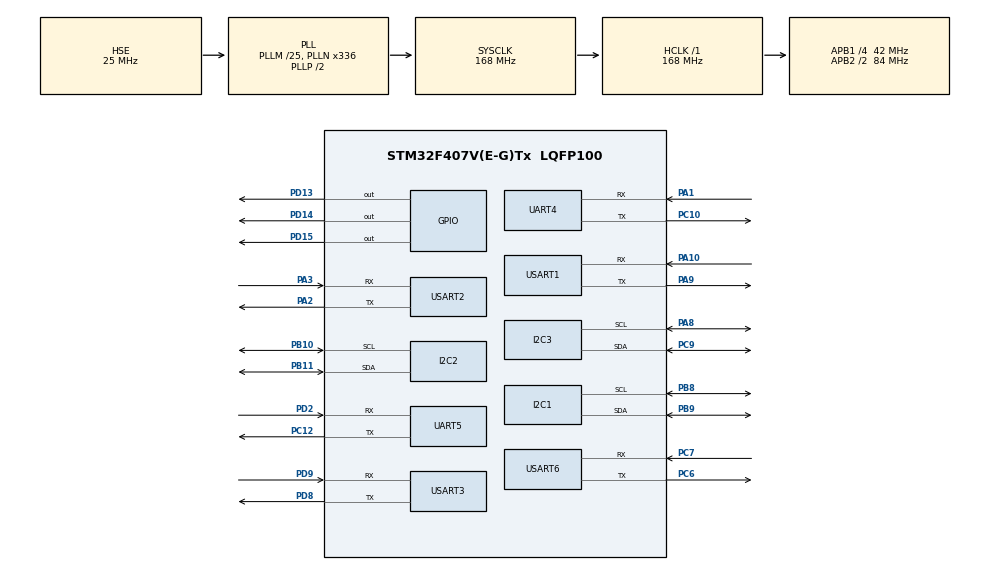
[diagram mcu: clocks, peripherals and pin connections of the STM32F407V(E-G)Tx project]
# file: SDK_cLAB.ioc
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I2C1.I2C_Mode=I2C_Standard
IWDG.Prescaler=IWDG_PRESCALER_64
Mcu.Family=STM32F4
Mcu.Name=STM32F407V(E-G)Tx
Mcu.Package=LQFP100
NVIC.PriorityGroup=NVIC_PRIORITYGROUP_4
NVIC.TIM1_BRK_TIM9_IRQn=true\:0\:0\:false\:false\:true\:true\:true
NVIC.TIM2_IRQn=true\:0\:0\:false\:false\:true\:true\:true
NVIC.TIM5_IRQn=true\:0\:0\:false\:false\:true\:true\:true
NVIC.UART4_IRQn=true\:0\:0\:false\:false\:true\:true\:true
NVIC.UART5_IRQn=true\:0\:0\:false\:false\:true\:true\:true
NVIC.USART1_IRQn=true\:0\:0\:false\:false\:true\:true\:true
NVIC.USART2_IRQn=true\:0\:0\:false\:false\:true\:true\:true
NVIC.USART3_IRQn=true\:0\:0\:false\:false\:true\:true\:true
NVIC.USART6_IRQn=true\:0\:0\:false\:false\:true\:true\:true
PA1.Mode=Asynchronous
PA1.Signal=UART4_RX
PA10.Mode=Asynchronous
PA10.Signal=USART1_RX
PA13.Mode=JTAG_5_pins
PA13.Signal=SYS_JTMS-SWDIO
PA14.Mode=JTAG_5_pins
PA14.Signal=SYS_JTCK-SWCLK
PA15.Mode=JTAG_5_pins
PA15.Signal=SYS_JTDI
PA2.Mode=Asynchronous
PA2.Signal=USART2_TX
PA3.Mode=Asynchronous
PA3.Signal=USART2_RX
PA8.Mode=I2C
PA8.Signal=I2C3_SCL
PA9.Mode=Asynchronous
PA9.Signal=USART1_TX
PB10.Mode=I2C
PB10.Signal=I2C2_SCL
PB11.Mode=I2C
PB11.Signal=I2C2_SDA
PB3.Mode=JTAG_5_pins
PB3.Signal=SYS_JTDO-SWO
PB4.Mode=JTAG_5_pins
PB4.Signal=SYS_JTRST
PB8.Mode=I2C
PB8.Signal=I2C1_SCL
PB9.Mode=I2C
PB9.Signal=I2C1_SDA
PC10.Mode=Asynchronous
PC10.Signal=UART4_TX
PC12.Mode=Asynchronous
PC12.Signal=UART5_TX
PC6.Mode=Asynchronous
PC6.Signal=USART6_TX
PC7.Mode=Asynchronous
PC7.Signal=USART6_RX
PC9.Mode=I2C
PC9.Signal=I2C3_SDA
PD13.Signal=GPIO_Output
PD14.GPIO_Speed=GPIO_SPEED_FREQ_HIGH
PD14.PinState=GPIO_PIN_RESET
PD14.Signal=GPIO_Output
PD15.GPIO_Speed=GPIO_SPEED_FREQ_HIGH
PD15.Signal=GPIO_Output
PD2.Mode=Asynchronous
PD2.Signal=UART5_RX
PD8.Mode=Asynchronous
PD8.Signal=USART3_TX
PD9.Mode=Asynchronous
PD9.Signal=USART3_RX
PH0-OSC_IN.Mode=HSE-External-Oscillator
PH0-OSC_IN.Signal=RCC_OSC_IN
PH1-OSC_OUT.Mode=HSE-External-Oscillator
PH1-OSC_OUT.Signal=RCC_OSC_OUT
ProjectManager.HeapSize=0x200
ProjectManager.StackSize=0x400
ProjectManager.TargetToolchain=STM32CubeIDE
RCC.48MHZClocksFreq_Value=84000000
RCC.AHBFreq_Value=168000000
RCC.APB1CLKDivider=RCC_HCLK_DIV4
RCC.APB1Freq_Value=42000000
RCC.APB1TimFreq_Value=84000000
RCC.APB2CLKDivider=RCC_HCLK_DIV2
RCC.APB2Freq_Value=84000000
RCC.APB2TimFreq_Value=168000000
RCC.CortexFreq_Value=168000000
RCC.HCLKFreq_Value=168000000
RCC.HSE_VALUE=25000000
RCC.HSI_VALUE=16000000
RCC.LSE_VALUE=32768
RCC.PLLM=25
RCC.PLLN=336
RCC.PLLSourceVirtual=RCC_PLLSOURCE_HSE
RCC.SYSCLKFreq_VALUE=168000000
RCC.SYSCLKSource=RCC_SYSCLKSOURCE_PLLCLK
RCC.VCOOutputFreq_Value=336000000
TIM2.Period=9999
TIM2.Prescaler=8399
TIM5.Channel-PWM\ Generation1\ No\ Output=TIM_CHANNEL_1
TIM5.Period=9999
TIM5.Prescaler=8399
TIM5.Pulse-PWM\ Generation1\ No\ Output=3000
TIM9.Period=9999
TIM9.Prescaler=33599
UART4.VirtualMode=Asynchronous
UART5.VirtualMode=Asynchronous
USART1.VirtualMode=VM_ASYNC
USART2.VirtualMode=VM_ASYNC
USART3.VirtualMode=VM_ASYNC
USART6.VirtualMode=VM_ASYNC
VP_IWDG_VS_IWDG.Mode=IWDG_Activate
VP_TIM2_VS_ClockSourceINT.Mode=Internal
VP_TIM5_VS_ClockSourceINT.Mode=Internal
VP_TIM5_VS_no_output1.Mode=PWM Generation1 No Output
VP_TIM9_VS_ClockSourceINT.Mode=Internal
board=custom

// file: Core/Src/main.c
/* USER CODE BEGIN Header */
/**
  ******************************************************************************
  * @file           : main.c
  * @brief          : Main program body
  ******************************************************************************
  * @attention
  *
  * <h2><center>&copy; Copyright (c) 2020 STMicroelectronics.
  * All rights reserved.</center></h2>
  *
  * This software component is licensed by ST under BSD 3-Clause license,
  * the "License"; You may not use this file except in compliance with the
  * License. You may obtain a copy of the License at:
  *                        opensource.org/licenses/BSD-3-Clause
  *
  ******************************************************************************
  */
/* USER CODE END Header */
#include "main.h"
#include "i2c.h"
#include "iwdg.h"
#include "tim.h"
#include "usart.h"
#include "gpio.h"

/* USER CODE BEGIN Includes */
#include "trace.h"
#include "string.h"
#include <stdio.h>
/* USER CODE END Includes */

void SystemClock_Config(void);

/* USER CODE BEGIN 0 */
/**
 * @brief   Scans trough the I2C for valid addresses, then prints the out with printf().
 * @param   void
 * @return  void
 */
void i2c_detect(void) {
	uint8_t devices = 0u;

	SDK_TRACE_Print("Searching for I2C devices on the bus from 0x03 to 0x80...\n");
	/* Values outside 0x03 and 0x77 are invalid. */
	for (uint8_t i = 0x03u; i < 0x77u; i++) {
		uint8_t address = i << 1u;
		/* In case there is a positive feedback, print it out. */
		if (HAL_OK == HAL_I2C_IsDeviceReady(&hi2c1, address, 3u, 10u)) {
			//char string[30];
			//sprintf(string, "Device found: 0x%02X\n", address);
			//SDK_TRACE_Print(string);
			devices++;
		}
	}
	/* Feedback of the total number of devices. */
	if (0u == devices) {
		SDK_TRACE_Print("No device found.\n");
	} else {
		char string[100];
		sprintf(string, "Total found devices: %d\n", devices);
		SDK_TRACE_Print(string);
		//SDK_TRACE_Print("Total found devices:");
	}
}

/* USER CODE END 0 */

int main(void)
{

  /* MCU Configuration--------------------------------------------------------*/

  /* Reset of all peripherals, Initializes the Flash interface and the Systick. */
  HAL_Init();

  /* Configure the system clock */
  SystemClock_Config();

  /* Initialize all configured peripherals */
  MX_GPIO_Init();
  MX_IWDG_Init();
  MX_I2C1_Init();
  MX_UART4_Init();
  MX_UART5_Init();
  MX_USART1_UART_Init();
  MX_USART2_UART_Init();
  MX_USART3_UART_Init();
  MX_USART6_UART_Init();
  MX_I2C2_Init();
  MX_I2C3_Init();
  MX_TIM2_Init();
  MX_TIM9_Init();
  MX_TIM5_Init();
  /* USER CODE BEGIN 2 */

  /* Do not remove this code below */
  MX_TRACE_Init();
  SDK_TRACE_Start();

  HAL_TIM_Base_Start_IT(&htim5);
  HAL_TIM_PWM_Start_IT(&htim5, TIM_CHANNEL_1);

    i2c_detect();

    HAL_Delay(7999);
    HAL_TIM_PWM_Stop_IT(&htim5, TIM_CHANNEL_1);

    /* Place your code before here */
    /* Do not remove this code below */
    SDK_TRACE_Stop();
    /* Do not remove this code from above */

  /* Place your code before here */
  /* Do not remove this code below */
  SDK_TRACE_Stop();
  /* Do not remove this code from above */

  /* USER CODE END 2 */

  /* Infinite loop */
  while (1)
  {

  }
}

void SystemClock_Config(void)
{
  RCC_OscInitTypeDef RCC_OscInitStruct = {0};
  RCC_ClkInitTypeDef RCC_ClkInitStruct = {0};

  /** Configure the main internal regulator output voltage
  */
  __HAL_RCC_PWR_CLK_ENABLE();
  __HAL_PWR_VOLTAGESCALING_CONFIG(PWR_REGULATOR_VOLTAGE_SCALE1);
  /** Initializes the RCC Oscillators according to the specified parameters
  * in the RCC_OscInitTypeDef structure.
  */
  RCC_OscInitStruct.OscillatorType = RCC_OSCILLATORTYPE_LSI|RCC_OSCILLATORTYPE_HSE;
  RCC_OscInitStruct.HSEState = RCC_HSE_ON;
  RCC_OscInitStruct.LSIState = RCC_LSI_ON;
  RCC_OscInitStruct.PLL.PLLState = RCC_PLL_ON;
  RCC_OscInitStruct.PLL.PLLSource = RCC_PLLSOURCE_HSE;
  RCC_OscInitStruct.PLL.PLLM = 25;
  RCC_OscInitStruct.PLL.PLLN = 336;
  RCC_OscInitStruct.PLL.PLLP = RCC_PLLP_DIV2;
  RCC_OscInitStruct.PLL.PLLQ = 4;
  if (HAL_RCC_OscConfig(&RCC_OscInitStruct) != HAL_OK)
  {
    Error_Handler();
  }
  /** Initializes the CPU, AHB and APB buses clocks
  */
  RCC_ClkInitStruct.ClockType = RCC_CLOCKTYPE_HCLK|RCC_CLOCKTYPE_SYSCLK
                              |RCC_CLOCKTYPE_PCLK1|RCC_CLOCKTYPE_PCLK2;
  RCC_ClkInitStruct.SYSCLKSource = RCC_SYSCLKSOURCE_PLLCLK;
  RCC_ClkInitStruct.AHBCLKDivider = RCC_SYSCLK_DIV1;
  RCC_ClkInitStruct.APB1CLKDivider = RCC_HCLK_DIV4;
  RCC_ClkInitStruct.APB2CLKDivider = RCC_HCLK_DIV2;

  if (HAL_RCC_ClockConfig(&RCC_ClkInitStruct, FLASH_LATENCY_5) != HAL_OK)
  {
    Error_Handler();
  }
}

/* USER CODE BEGIN 4 */
uint8_t timerValueTIM2 = 1;
uint8_t timerValueTIM9 = 1;
void HAL_TIM_PeriodElapsedCallback(TIM_HandleTypeDef *htim)
{
	if (htim->Instance == TIM2) {
		//SDK_TRACE_Print("1");
		SDK_TRACE_Timestamp(P0, timerValueTIM2);

		if (timerValueTIM2 == 0) {
			timerValueTIM2 = 1;
		} else {
			timerValueTIM2 = 0;
		}
	}

	if (htim->Instance == TIM9) {
		//SDK_TRACE_Print("1");
		SDK_TRACE_Timestamp(P1, timerValueTIM9);

		if (timerValueTIM9 == 0) {
			timerValueTIM9 = 1;
		} else {
			timerValueTIM9 = 0;
		}
	}

	if (htim->Instance == TIM5) {
		//SDK_TRACE_Print("1");
		SDK_TRACE_Timestamp(P2, 1);
	}
}

void HAL_TIM_PWM_PulseFinishedCallback(TIM_HandleTypeDef * htim)
{
	SDK_TRACE_Timestamp(P2, 0);
}
/* USER CODE END 4 */

void Error_Handler(void)
{
}

/************************ (C) COPYRIGHT STMicroelectronics *****END OF FILE****/
